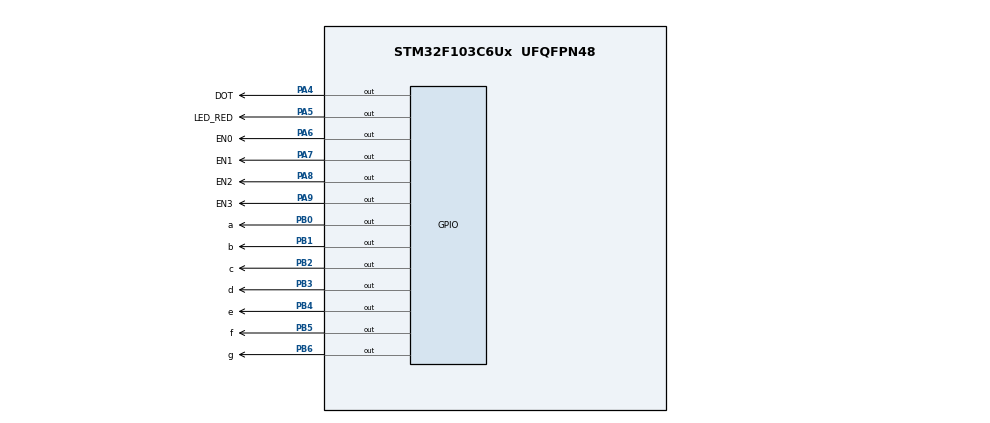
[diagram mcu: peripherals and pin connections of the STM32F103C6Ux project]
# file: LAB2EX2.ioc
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Mcu.Family=STM32F1
Mcu.Name=STM32F103C6Ux
Mcu.Package=UFQFPN48
NVIC.PriorityGroup=NVIC_PRIORITYGROUP_4
NVIC.TIM2_IRQn=true\:0\:0\:false\:false\:true\:true\:true
PA4.GPIO_Label=DOT
PA4.Signal=GPIO_Output
PA5.GPIO_Label=LED_RED
PA5.Signal=GPIO_Output
PA6.GPIO_Label=EN0
PA6.Signal=GPIO_Output
PA7.GPIO_Label=EN1
PA7.Signal=GPIO_Output
PA8.GPIO_Label=EN2
PA8.Signal=GPIO_Output
PA9.GPIO_Label=EN3
PA9.Signal=GPIO_Output
PB0.GPIO_Label=a
PB0.Signal=GPIO_Output
PB1.GPIO_Label=b
PB1.Signal=GPIO_Output
PB2.GPIO_Label=c
PB2.Signal=GPIO_Output
PB3.GPIO_Label=d
PB3.Signal=GPIO_Output
PB4.GPIO_Label=e
PB4.Signal=GPIO_Output
PB5.GPIO_Label=f
PB5.Signal=GPIO_Output
PB6.GPIO_Label=g
PB6.Signal=GPIO_Output
ProjectManager.HeapSize=0x200
ProjectManager.StackSize=0x400
ProjectManager.TargetToolchain=STM32CubeIDE
RCC.APB1Freq_Value=8000000
RCC.APB2Freq_Value=8000000
TIM2.Period=9
TIM2.Prescaler=7999
VP_SYS_VS_ND.Mode=No_Debug
VP_TIM2_VS_ClockSourceINT.Mode=Internal
board=custom

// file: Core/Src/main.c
/* USER CODE BEGIN Header */
/**
  ******************************************************************************
  * @file           : main.c
  * @brief          : Main program body
  ******************************************************************************
  * @attention
  *
  * <h2><center>&copy; Copyright (c) 2026 STMicroelectronics.
  * All rights reserved.</center></h2>
  *
  * This software component is licensed by ST under BSD 3-Clause license,
  * the "License"; You may not use this file except in compliance with the
  * License. You may obtain a copy of the License at:
  *                        opensource.org/licenses/BSD-3-Clause
  *
  ******************************************************************************
  */
/* USER CODE END Header */
#include "main.h"

TIM_HandleTypeDef htim2;
int switchCounter = 0;
int displayIndex = 0;
int dotCounter = 0;
void display7SEG(int num)
{
    const uint8_t code[10][7] =
    {
        {1,1,1,1,1,1,0}, // 0
        {0,1,1,0,0,0,0}, // 1
        {1,1,0,1,1,0,1}, // 2
        {1,1,1,1,0,0,1}, // 3
        {0,1,1,0,0,1,1}, // 4
        {1,0,1,1,0,1,1}, // 5
        {1,0,1,1,1,1,1}, // 6
        {1,1,1,0,0,0,0}, // 7
        {1,1,1,1,1,1,1}, // 8
        {1,1,1,1,0,1,1}  // 9
    };

    uint16_t pin[7] =
    {
        a_Pin,
        b_Pin,
        c_Pin,
        d_Pin,
        e_Pin,
        f_Pin,
        g_Pin
    };

    for (int i = 0; i < 7; i++)
    {
        HAL_GPIO_WritePin(GPIOB,pin[i], code[num][i] ? GPIO_PIN_RESET : GPIO_PIN_SET);
    }
}

void SystemClock_Config(void);
static void MX_GPIO_Init(void);
static void MX_TIM2_Init(void);

int main(void)
{

  /* MCU Configuration--------------------------------------------------------*/

  /* Reset of all peripherals, Initializes the Flash interface and the Systick. */
  HAL_Init();

  /* Configure the system clock */
  SystemClock_Config();

  /* Initialize all configured peripherals */
  MX_GPIO_Init();
  MX_TIM2_Init();

  HAL_GPIO_WritePin(EN0_GPIO_Port, EN0_Pin, GPIO_PIN_SET);
  HAL_GPIO_WritePin(EN1_GPIO_Port, EN1_Pin, GPIO_PIN_SET);
  HAL_GPIO_WritePin(EN2_GPIO_Port, EN2_Pin, GPIO_PIN_SET);
  HAL_GPIO_WritePin(EN3_GPIO_Port, EN3_Pin, GPIO_PIN_SET);

  HAL_GPIO_WritePin(DOT_GPIO_Port, DOT_Pin, GPIO_PIN_SET);

  display7SEG(1);
  HAL_GPIO_WritePin(EN0_GPIO_Port, EN0_Pin, GPIO_PIN_RESET);

  HAL_TIM_Base_Start_IT(&htim2);

  /* Infinite loop */
  while (1)
  {

  }
}

void SystemClock_Config(void)
{
  RCC_OscInitTypeDef RCC_OscInitStruct = {0};
  RCC_ClkInitTypeDef RCC_ClkInitStruct = {0};

  /** Initializes the RCC Oscillators according to the specified parameters
  * in the RCC_OscInitTypeDef structure.
  */
  RCC_OscInitStruct.OscillatorType = RCC_OSCILLATORTYPE_HSI;
  RCC_OscInitStruct.HSIState = RCC_HSI_ON;
  RCC_OscInitStruct.HSICalibrationValue = RCC_HSICALIBRATION_DEFAULT;
  RCC_OscInitStruct.PLL.PLLState = RCC_PLL_NONE;
  if (HAL_RCC_OscConfig(&RCC_OscInitStruct) != HAL_OK)
  {
    Error_Handler();
  }
  /** Initializes the CPU, AHB and APB buses clocks
  */
  RCC_ClkInitStruct.ClockType = RCC_CLOCKTYPE_HCLK|RCC_CLOCKTYPE_SYSCLK
                              |RCC_CLOCKTYPE_PCLK1|RCC_CLOCKTYPE_PCLK2;
  RCC_ClkInitStruct.SYSCLKSource = RCC_SYSCLKSOURCE_HSI;
  RCC_ClkInitStruct.AHBCLKDivider = RCC_SYSCLK_DIV1;
  RCC_ClkInitStruct.APB1CLKDivider = RCC_HCLK_DIV1;
  RCC_ClkInitStruct.APB2CLKDivider = RCC_HCLK_DIV1;

  if (HAL_RCC_ClockConfig(&RCC_ClkInitStruct, FLASH_LATENCY_0) != HAL_OK)
  {
    Error_Handler();
  }
}

static void MX_TIM2_Init(void)
{

  TIM_ClockConfigTypeDef sClockSourceConfig = {0};
  TIM_MasterConfigTypeDef sMasterConfig = {0};

  htim2.Instance = TIM2;
  htim2.Init.Prescaler = 7999;
  htim2.Init.CounterMode = TIM_COUNTERMODE_UP;
  htim2.Init.Period = 9;
  htim2.Init.ClockDivision = TIM_CLOCKDIVISION_DIV1;
  htim2.Init.AutoReloadPreload = TIM_AUTORELOAD_PRELOAD_DISABLE;
  if (HAL_TIM_Base_Init(&htim2) != HAL_OK)
  {
    Error_Handler();
  }
  sClockSourceConfig.ClockSource = TIM_CLOCKSOURCE_INTERNAL;
  if (HAL_TIM_ConfigClockSource(&htim2, &sClockSourceConfig) != HAL_OK)
  {
    Error_Handler();
  }
  sMasterConfig.MasterOutputTrigger = TIM_TRGO_RESET;
  sMasterConfig.MasterSlaveMode = TIM_MASTERSLAVEMODE_DISABLE;
  if (HAL_TIMEx_MasterConfigSynchronization(&htim2, &sMasterConfig) != HAL_OK)
  {
    Error_Handler();
  }

}

static void MX_GPIO_Init(void)
{
  GPIO_InitTypeDef GPIO_InitStruct = {0};

  /* GPIO Ports Clock Enable */
  __HAL_RCC_GPIOA_CLK_ENABLE();
  __HAL_RCC_GPIOB_CLK_ENABLE();

  /*Configure GPIO pin Output Level */
  HAL_GPIO_WritePin(GPIOA, DOT_Pin|LED_RED_Pin|EN0_Pin|EN1_Pin
                          |EN2_Pin|EN3_Pin, GPIO_PIN_RESET);

  /*Configure GPIO pin Output Level */
  HAL_GPIO_WritePin(GPIOB, a_Pin|b_Pin|c_Pin|d_Pin
                          |e_Pin|f_Pin|g_Pin, GPIO_PIN_RESET);

  /*Configure GPIO pins : DOT_Pin LED_RED_Pin EN0_Pin EN1_Pin
                           EN2_Pin EN3_Pin */
  GPIO_InitStruct.Pin = DOT_Pin|LED_RED_Pin|EN0_Pin|EN1_Pin
                          |EN2_Pin|EN3_Pin;
  GPIO_InitStruct.Mode = GPIO_MODE_OUTPUT_PP;
  GPIO_InitStruct.Pull = GPIO_NOPULL;
  GPIO_InitStruct.Speed = GPIO_SPEED_FREQ_LOW;
  HAL_GPIO_Init(GPIOA, &GPIO_InitStruct);

  /*Configure GPIO pins : a_Pin b_Pin c_Pin d_Pin
                           e_Pin f_Pin g_Pin */
  GPIO_InitStruct.Pin = a_Pin|b_Pin|c_Pin|d_Pin
                          |e_Pin|f_Pin|g_Pin;
  GPIO_InitStruct.Mode = GPIO_MODE_OUTPUT_PP;
  GPIO_InitStruct.Pull = GPIO_NOPULL;
  GPIO_InitStruct.Speed = GPIO_SPEED_FREQ_LOW;
  HAL_GPIO_Init(GPIOB, &GPIO_InitStruct);

}

/* USER CODE BEGIN 4 */
void HAL_TIM_PeriodElapsedCallback(TIM_HandleTypeDef *htim) {
	if (htim->Instance == TIM2) {
		dotCounter++;
		if (dotCounter >= 100) {
			dotCounter = 0;
			HAL_GPIO_TogglePin(DOT_GPIO_Port, DOT_Pin);
		}

		switchCounter++;
		if (switchCounter >= 50) {
			switchCounter = 0;
			displayIndex++;
			if (displayIndex >= 4) {
				displayIndex = 0;
			}
		}

		HAL_GPIO_WritePin(EN0_GPIO_Port, EN0_Pin, GPIO_PIN_SET);
		HAL_GPIO_WritePin(EN1_GPIO_Port, EN1_Pin, GPIO_PIN_SET);
		HAL_GPIO_WritePin(EN2_GPIO_Port, EN2_Pin, GPIO_PIN_SET);
		HAL_GPIO_WritePin(EN3_GPIO_Port, EN3_Pin, GPIO_PIN_SET);

		switch (displayIndex) {
		default:
			break;
		case 0:
			display7SEG(1);
			HAL_GPIO_WritePin(EN0_GPIO_Port, EN0_Pin, GPIO_PIN_RESET);
			break;
		case 1:
			display7SEG(2);
			HAL_GPIO_WritePin(EN1_GPIO_Port, EN1_Pin, GPIO_PIN_RESET);
			break;
		case 2:
			display7SEG(3);
			HAL_GPIO_WritePin(EN2_GPIO_Port, EN2_Pin, GPIO_PIN_RESET);
			break;
		case 3:
			display7SEG(0);
			HAL_GPIO_WritePin(EN3_GPIO_Port, EN3_Pin, GPIO_PIN_RESET);
			break;
		}
	}
}
/* USER CODE END 4 */

void Error_Handler(void)
{
  __disable_irq();
  while (1)
  {
  }
}

/************************ (C) COPYRIGHT STMicroelectronics *****END OF FILE****/
